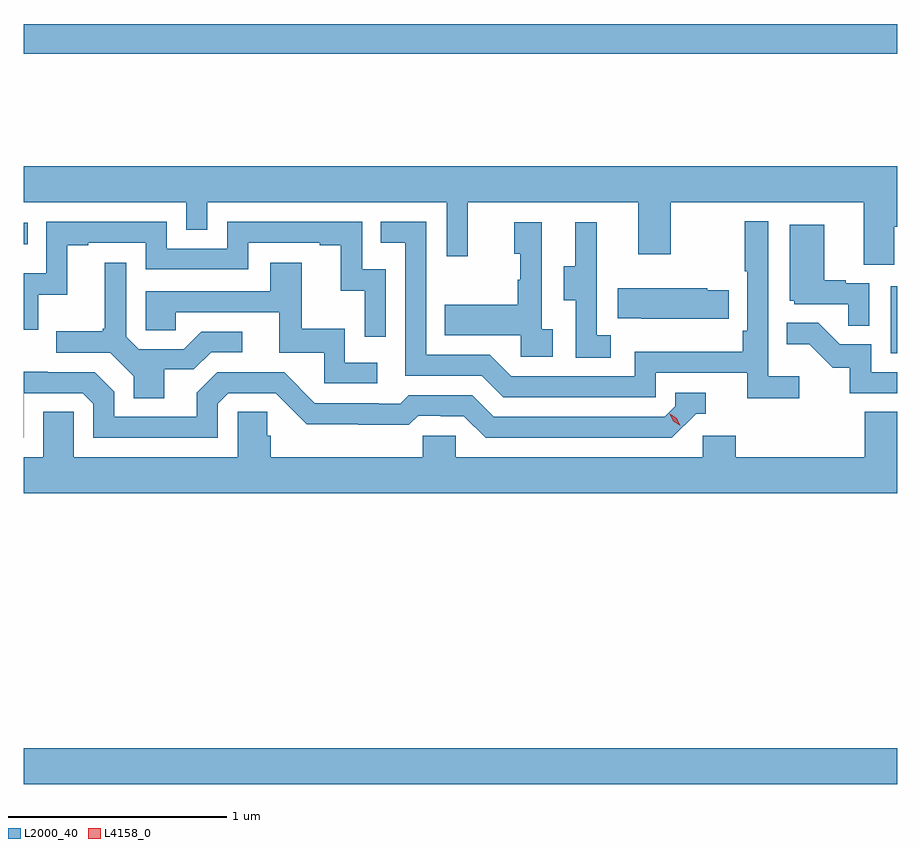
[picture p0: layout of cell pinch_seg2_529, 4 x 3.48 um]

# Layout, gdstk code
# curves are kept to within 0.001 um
import gdstk
lib = gdstk.Library(unit=1e-6, precision=1e-09)
def R(c, l, rs):  # rectangles x0, y0, x1, y1
    for r in rs: c.add(gdstk.rectangle(r[:2], r[2:], *l))
def P(c, l, *ps):  # polygons
    for p in ps: c.add(gdstk.Polygon(p, *l))
L2000_40 = (2000, 40)
L4158_0 = (4158, 0)

pinch_seg2_529 = lib.new_cell('pinch_seg2_529')
R(pinch_seg2_529, L2000_40, [(1136.861,622.328,1140.861,622.492), (1140.83,624.3,1140.861,624.607), (1136.861,624.8,1136.879,624.897), (1136.861,625.672,1140.861,625.808)])
P(pinch_seg2_529, L2000_40, [(1140.847,624.88),(1140.86,624.88),(1140.86,624.992),(1140.861,624.992),(1140.861,625.156),(1136.861,625.156),(1136.861,624.992),(1137.606,624.992),(1137.606,624.865),(1137.702,624.865),(1137.702,624.992),(1138.797,624.992),(1138.797,624.744),(1138.895,624.744),(1138.895,624.992),(1139.675,624.992),(1139.675,624.753),(1139.823,624.753),(1139.823,624.992),(1140.707,624.992),(1140.707,624.706),(1140.847,624.706)],
  [(1140.412,624.196),(1140.27,624.196),(1140.27,624.904),(1140.162,624.904),(1140.162,624.676),(1140.174,624.676),(1140.174,624.403),(1140.154,624.403),(1140.154,624.307),(1139.658,624.307),(1139.658,624.195),(1139.094,624.195),(1138.995,624.294),(1138.704,624.294),(1138.704,624.903),(1138.495,624.903),(1138.495,624.807),(1138.608,624.807),(1138.608,624.198),(1138.958,624.198),(1139.057,624.099),(1139.754,624.099),(1139.754,624.21),(1140.173,624.21),(1140.173,624.094),(1140.412,624.094)],
  [(1138.518,624.684),(1138.41,624.684),(1138.41,624.903),(1137.792,624.903),(1137.792,624.78),(1137.516,624.78),(1137.516,624.903),(1136.964,624.903),(1136.964,624.667),(1136.861,624.667),(1136.861,624.408),(1136.928,624.408),(1136.928,624.569),(1137.061,624.569),(1137.061,624.795),(1137.157,624.795),(1137.157,624.807),(1137.42,624.807),(1137.42,624.684),(1137.888,624.684),(1137.888,624.807),(1138.217,624.807),(1138.217,624.795),(1138.313,624.795),(1138.313,624.587),(1138.422,624.587),(1138.422,624.375),(1138.518,624.375)],
  [(1139.548,624.383),(1139.484,624.383),(1139.484,624.687),(1139.486,624.687),(1139.486,624.901),(1139.387,624.901),(1139.387,624.699),(1139.333,624.699),(1139.333,624.544),(1139.388,624.544),(1139.388,624.28),(1139.548,624.28)],
  [(1139.284,624.41),(1139.232,624.41),(1139.232,624.901),(1139.108,624.901),(1139.108,624.756),(1139.134,624.756),(1139.134,624.638),(1139.124,624.638),(1139.124,624.523),(1138.789,624.523),(1138.789,624.383),(1139.136,624.383),(1139.136,624.285),(1139.284,624.285)],
  [(1140.732,624.621),(1140.626,624.621),(1140.626,624.634),(1140.526,624.634),(1140.526,624.889),(1140.368,624.889),(1140.368,624.54),(1140.39,624.54),(1140.39,624.525),(1140.637,624.525),(1140.637,624.427),(1140.732,624.427)],
  [(1137.505,624.226),(1137.64,624.226),(1137.72,624.306),(1137.862,624.306),(1137.862,624.399),(1137.674,624.399),(1137.593,624.318),(1137.387,624.318),(1137.33,624.375),(1137.33,624.715),(1137.233,624.715),(1137.233,624.412),(1137.222,624.412),(1137.222,624.4),(1137.009,624.4),(1137.009,624.303),(1137.258,624.303),(1137.365,624.196),(1137.365,624.094),(1137.505,624.094)],
  [(1138.48,624.258),(1138.332,624.258),(1138.332,624.412),(1138.133,624.412),(1138.133,624.715),(1137.989,624.715),(1137.989,624.585),(1137.42,624.585),(1137.42,624.405),(1137.557,624.405),(1137.557,624.489),(1138.031,624.489),(1138.031,624.303),(1138.236,624.303),(1138.236,624.162),(1138.48,624.162)],
  [(1140.089,624.588),(1139.991,624.588),(1139.991,624.598),(1139.581,624.598),(1139.581,624.461),(1139.689,624.461),(1139.689,624.458),(1140.089,624.458)],
  [(1140.861,624.213),(1140.741,624.213),(1140.741,624.342),(1140.597,624.342),(1140.499,624.44),(1140.355,624.44),(1140.355,624.341),(1140.459,624.341),(1140.566,624.234),(1140.643,624.234),(1140.643,624.117),(1140.861,624.117)],
  [(1136.862,624.117),(1137.132,624.117),(1137.18,624.069),(1137.18,623.913),(1137.75,623.913),(1137.75,624.069),(1137.798,624.117),(1138.014,624.117),(1138.156,623.975),(1138.392,623.975),(1138.392,623.973),(1138.625,623.973),(1138.667,624.015),(1138.77,624.015),(1138.77,624.012),(1138.877,624.012),(1138.976,623.913),(1139.829,623.913),(1139.94,624.024),(1139.983,624.024),(1139.983,624.12),(1139.844,624.12),(1139.844,624.057),(1139.796,624.009),(1139.013,624.009),(1138.914,624.108),(1138.625,624.108),(1138.586,624.069),(1138.487,624.069),(1138.487,624.072),(1138.194,624.072),(1138.053,624.213),(1137.747,624.213),(1137.653,624.119),(1137.653,624.009),(1137.276,624.009),(1137.276,624.123),(1137.186,624.213),(1136.97,624.213),(1136.97,624.215),(1136.861,624.215),(1136.861,623.913)],
  [(1140.861,624.032),(1140.713,624.032),(1140.713,623.824),(1140.122,623.824),(1140.122,623.922),(1139.97,623.922),(1139.97,623.824),(1138.839,623.824),(1138.839,623.922),(1138.689,623.922),(1138.689,623.824),(1137.992,623.824),(1137.992,623.922),(1137.977,623.922),(1137.977,624.032),(1137.84,624.032),(1137.84,623.824),(1137.09,623.824),(1137.09,624.032),(1136.951,624.032),(1136.951,623.824),(1136.861,623.824),(1136.861,623.66),(1140.861,623.66)])
P(pinch_seg2_529, L4158_0, [(1139.866,623.97),(1139.836,623.99),(1139.82,624.022),(1139.82,624.023),(1139.82,624.023),(1139.851,624.003),(1139.867,623.971),(1139.867,623.97)])

lib.write_gds('pinch_seg2_529.gds')
